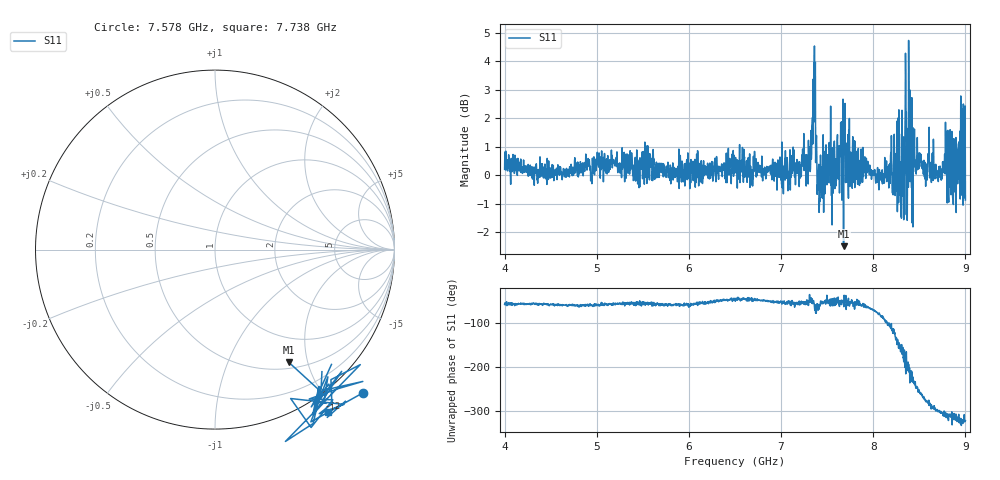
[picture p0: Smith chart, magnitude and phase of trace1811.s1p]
! Created with skrf 1.8.0 (http://scikit-rf.org).
# Hz S RI R 50.0
!freq ReS11 ImS11
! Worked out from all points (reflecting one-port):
!   1601 points, 4 GHz to 9 GHz, reference 50 ohm
!   lowest |S11| = -2.5 dB at 7.678 GHz (marker M1), VSWR 7.03, Z = 29.4 - j84.8 ohm
!   phase of S11 starts at -58 deg and turns -264 deg over the sweep
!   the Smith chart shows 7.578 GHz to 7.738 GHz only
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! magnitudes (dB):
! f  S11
! 4 GHz  0.2
! 4.625 GHz  -0.2
! 5.25 GHz  0.1
! 5.875 GHz  -0.2
! 6.5 GHz  0.3
! 7.125 GHz  0.4
! 7.297 GHz  1.2
! 7.319 GHz  0.2
! 7.347 GHz  3.4
! 7.372 GHz  4.0
! 7.4 GHz  -0.5
! 7.425 GHz  -0.6
! 7.512 GHz  0.1
! 7.572 GHz  0.4
! 7.678 GHz  -2.5
! 7.75 GHz  0.2
! 8.097 GHz  0.2
! 8.266 GHz  1.0
! 8.316 GHz  0.0
! 8.334 GHz  1.0
! 8.375 GHz  1.5
! 8.447 GHz  1.6
! 8.459 GHz  0.1
! 8.722 GHz  0.2
! 8.788 GHz  0.2
! 8.881 GHz  -0.6
! 8.972 GHz  0.3
! 9 GHz  -0.9
